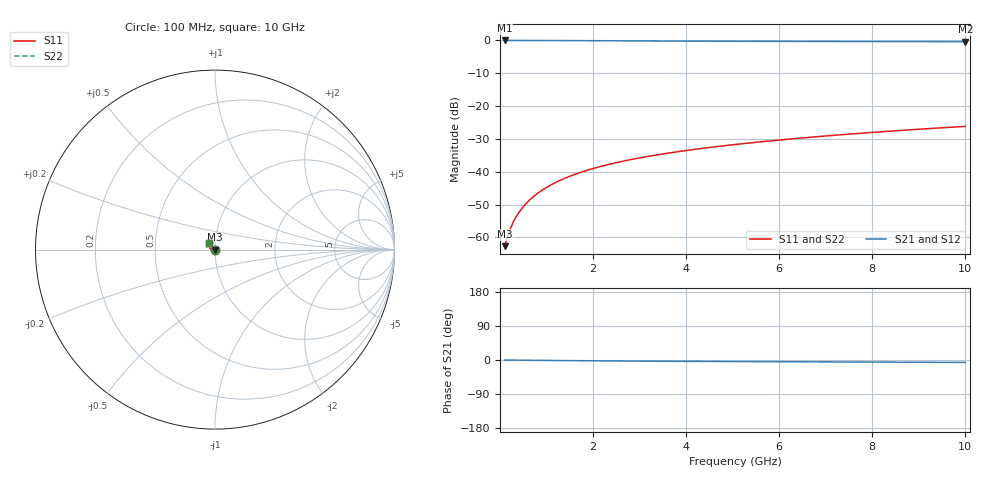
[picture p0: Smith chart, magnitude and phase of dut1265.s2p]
! Touchstone file exported from HFSS 2024.1.0
!  File:  C:/UserFiles/LocalFiles/RDL_TSV_Batchsim/temp_TSV1_1265_1780253866.aedt
!  Generated:  03:06:03 AM Jun  1, 2026
!  Design:  TSV1
!  Project:  temp_TSV1_1265_1780253866
!  Setup:  Setup1
!  Solution:  Sweep
! Variables:
!  dtsv = 5.79um
!  hbump = 3um
!  htsv = 92.15um
!  lrdl = 252.1521522um
!  p = 40
!  p1 = 59.11um
!  t = 500um
!  trdl = 3um
!  wrdl = 24.89489489um
# GHz S MA R 50.000000
! Terminal data exported
! Port[1] = TSV22_T1
! Port[2] = TSV22_T2
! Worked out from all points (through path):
!   100 points, 100 MHz to 10 GHz, reference 50 ohm
!   highest |S21| = 0.00 dB at 100 MHz (marker M1); lowest = -0.4 dB at 10 GHz (marker M2)
!   lowest |S11| = -62.7 dB at 100 MHz (marker M3), VSWR 1.00, Z = 50 - j0.0592 ohm
!   |S11| at or under -10 dB: start of sweep to end of sweep
!   |S22| runs from -62.7 to -26.2 dB; largest |S21 - S12| = 1.1e-14
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0.1  0.0007329 -53.8  0.9995 -0.1  0.9995 -0.1  0.0007329 -53.8
! Gamma 0 0 0 0
! Port Impedance 50 0 50 0
0.2  0.001244 -73.6  0.9994 -0.2  0.9994 -0.2  0.001244 -73.6
0.3  0.001797 -83.2  0.9993 -0.4  0.9993 -0.4  0.001797 -83.2
0.4  0.002361 -89.6  0.9991 -0.5  0.9991 -0.5  0.002361 -89.6
0.5  0.002929 -94.6  0.9988 -0.6  0.9988 -0.6  0.002929 -94.6
0.6  0.003498 -98.8  0.9985 -0.7  0.9985 -0.7  0.003498 -98.8
0.7  0.004066 -102.6  0.9981 -0.8  0.9981 -0.8  0.004066 -102.6
0.8  0.004632 -106.0  0.9977 -0.9  0.9977 -0.9  0.004632 -106.0
0.9  0.005195 -109.3  0.9973 -1.0  0.9973 -1.0  0.005195 -109.3
1.1  0.006314 -115.4  0.9963 -1.3  0.9963 -1.3  0.006314 -115.4
1.4  0.007966 -123.9  0.9945 -1.6  0.9945 -1.6  0.007966 -123.9
1.6  0.009048 -129.2  0.9932 -1.8  0.9932 -1.8  0.009048 -129.2
1.8  0.01011 -134.2  0.9919 -2.0  0.9919 -2.0  0.01011 -134.2
2.1  0.01169 -141.4  0.9897 -2.2  0.9897 -2.2  0.01169 -141.4
2.5  0.01373 -150.2  0.9868 -2.5  0.9868 -2.5  0.01373 -150.2
2.9  0.01572 -158.2  0.984 -2.8  0.984 -2.8  0.01572 -158.2
3.4  0.01815 -167.3  0.9807 -3.1  0.9807 -3.1  0.01815 -167.3
4.2  0.02196 -179.8  0.976 -3.6  0.976 -3.6  0.02196 -179.8
5.1  0.02617 168.7  0.9717 -4.1  0.9717 -4.1  0.02617 168.7
6.7  0.03361 153.0  0.966 -4.8  0.966 -4.8  0.03361 153.0
8.4  0.04153 140.9  0.9619 -5.6  0.9619 -5.6  0.04153 140.9
10  0.04902 132.4  0.9592 -6.4  0.9592 -6.4  0.04902 132.4
